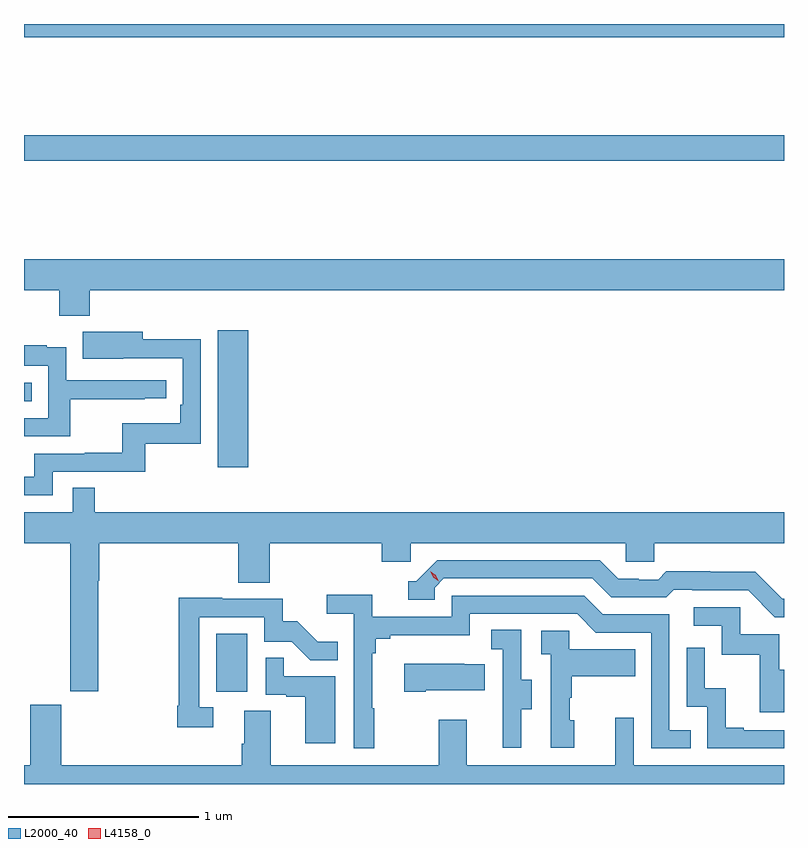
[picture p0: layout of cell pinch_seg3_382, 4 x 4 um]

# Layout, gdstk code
import gdstk
lib = gdstk.Library(unit=1e-6, precision=1e-09)
def R(c, l, rs):  # rectangles x0, y0, x1, y1
    for r in rs: c.add(gdstk.rectangle(r[:2], r[2:], *l))
def P(c, l, *ps):  # polygons
    for p in ps: c.add(gdstk.Polygon(p, *l))
L2000_40 = (2000, 40)
L4158_0 = (4158, 0)

pinch_seg3_382 = lib.new_cell('pinch_seg3_382')
R(pinch_seg3_382, L2000_40, [(970.07,686.814,970.234,687.121), (970.079,687.996,970.24,688.717), (969.059,688.344,969.101,688.44), (969.059,689.608,973.059,689.744), (969.059,690.26,973.059,690.329)])
P(pinch_seg3_382, L2000_40, [(969.404,688.928),(973.059,688.928),(973.059,689.092),(969.059,689.092),(969.059,688.928),(969.244,688.928),(969.244,688.793),(969.404,688.793)],
  [(969.21,687.972),(969.697,687.972),(969.697,688.119),(969.99,688.119),(969.99,688.67),(969.685,688.67),(969.685,688.708),(969.367,688.708),(969.367,688.568),(969.581,688.568),(969.581,688.569),(969.894,688.569),(969.894,688.324),(969.881,688.324),(969.881,688.228),(969.576,688.228),(969.576,688.073),(969.379,688.073),(969.379,688.068),(969.114,688.068),(969.114,687.945),(969.059,687.945),(969.059,687.849),(969.21,687.849)],
  [(969.302,688.354),(969.695,688.354),(969.695,688.359),(969.808,688.359),(969.808,688.455),(969.282,688.455),(969.282,688.627),(969.179,688.627),(969.179,688.639),(969.059,688.639),(969.059,688.53),(969.186,688.53),(969.186,688.254),(969.059,688.254),(969.059,688.158),(969.302,688.158)],
  [(969.45,687.4),(969.455,687.4),(969.455,687.596),(970.187,687.596),(970.187,687.388),(970.352,687.388),(970.352,687.596),(970.943,687.596),(970.943,687.498),(971.094,687.498),(971.094,687.596),(972.225,687.596),(972.225,687.498),(972.375,687.498),(972.375,687.596),(973.059,687.596),(973.059,687.76),(969.431,687.76),(969.431,687.887),(969.315,687.887),(969.315,687.76),(969.059,687.76),(969.059,687.596),(969.302,687.596),(969.302,686.817),(969.45,686.817)],
  [(973.059,687.303),(973.05,687.303),(972.908,687.445),(972.672,687.445),(972.672,687.448),(972.439,687.448),(972.397,687.405),(972.294,687.405),(972.294,687.408),(972.187,687.408),(972.088,687.507),(971.235,687.507),(971.124,687.396),(971.081,687.396),(971.081,687.3),(971.22,687.3),(971.22,687.363),(971.268,687.411),(972.051,687.411),(972.15,687.312),(972.439,687.312),(972.478,687.351),(972.577,687.351),(972.577,687.348),(972.87,687.348),(973.011,687.207),(973.059,687.207)],
  [(970.903,686.729),(970.891,686.729),(970.891,687.017),(970.91,687.017),(970.91,687.094),(970.987,687.094),(970.987,687.113),(971.406,687.113),(971.406,687.225),(971.97,687.225),(972.069,687.126),(972.36,687.126),(972.36,686.517),(972.569,686.517),(972.569,686.613),(972.456,686.613),(972.456,687.222),(972.106,687.222),(972.007,687.321),(971.31,687.321),(971.31,687.21),(970.892,687.21),(970.892,687.326),(970.653,687.326),(970.653,687.224),(970.794,687.224),(970.794,686.517),(970.903,686.517)],
  [(970.054,686.733),(969.981,686.733),(969.981,687.207),(970.323,687.207),(970.323,687.078),(970.467,687.078),(970.565,686.98),(970.709,686.98),(970.709,687.079),(970.605,687.079),(970.498,687.186),(970.422,687.186),(970.422,687.303),(970.103,687.303),(970.103,687.308),(969.873,687.308),(969.873,686.74),(969.865,686.74),(969.865,686.628),(970.054,686.628)],
  [(973.059,686.931),(973.033,686.931),(973.033,687.117),(972.828,687.117),(972.828,687.258),(972.585,687.258),(972.585,687.162),(972.732,687.162),(972.732,687.009),(972.931,687.009),(972.931,686.706),(973.059,686.706)],
  [(971.677,686.722),(971.731,686.722),(971.731,686.877),(971.676,686.877),(971.676,687.14),(971.517,687.14),(971.517,687.037),(971.58,687.037),(971.58,686.733),(971.579,686.733),(971.579,686.52),(971.677,686.52)],
  [(971.956,686.664),(971.931,686.664),(971.931,686.783),(971.941,686.783),(971.941,686.897),(972.275,686.897),(972.275,687.037),(971.928,687.037),(971.928,687.135),(971.781,687.135),(971.781,687.011),(971.832,687.011),(971.832,686.52),(971.956,686.52)],
  [(973.059,686.613),(972.847,686.613),(972.847,686.626),(972.752,686.626),(972.752,686.834),(972.642,686.834),(972.642,687.046),(972.546,687.046),(972.546,686.736),(972.654,686.736),(972.654,686.517),(973.059,686.517)],
  [(970.696,686.895),(970.427,686.895),(970.427,686.993),(970.332,686.993),(970.332,686.799),(970.439,686.799),(970.439,686.787),(970.538,686.787),(970.538,686.544),(970.696,686.544)],
  [(971.173,686.822),(971.483,686.822),(971.483,686.959),(971.375,686.959),(971.375,686.962),(971.061,686.962),(971.061,686.815),(971.173,686.815)],
  [(969.092,686.428),(969.059,686.428),(969.059,686.329),(973.059,686.329),(973.059,686.428),(972.267,686.428),(972.267,686.677),(972.17,686.677),(972.17,686.428),(971.389,686.428),(971.389,686.668),(971.242,686.668),(971.242,686.428),(970.357,686.428),(970.357,686.714),(970.217,686.714),(970.217,686.54),(970.205,686.54),(970.205,686.428),(969.256,686.428),(969.256,686.745),(969.092,686.745)])
P(pinch_seg3_382, L4158_0, [(971.243,687.396),(971.212,687.416),(971.196,687.449),(971.196,687.449),(971.197,687.449),(971.227,687.429),(971.243,687.396),(971.243,687.396)])

lib.write_gds('pinch_seg3_382.gds')
